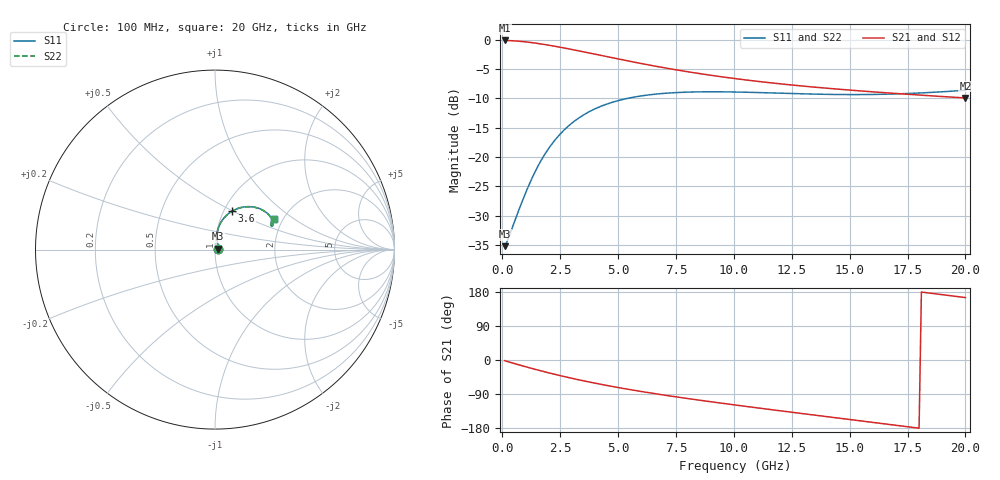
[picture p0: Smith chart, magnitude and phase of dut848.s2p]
! Touchstone file exported from HFSS 2024.1.0
!  File:  C:/UserFiles/LocalFiles/RDL_TSV_Batchsim/temp_RDL_TSV_848_1779921870.aedt
!  Generated:  07:02:00 AM May 28, 2026
!  Design:  RDL_TSV
!  Project:  temp_RDL_TSV_848_1779921870
!  Setup:  Setup1
!  Solution:  Sweep
! Variables:
!  dtsv = 8.71um
!  hbump = 3um
!  htsv = 97.14um
!  ldown = 466.9um
!  lrdl = 264.74um
!  p = 40
!  p1 = 56.59um
!  rhole = 10um
!  subl = 2459.66um
!  t = 450um
!  tdown = 4.95um
!  trdl = 3.76um
!  viad = 10um
!  wdown = 12.07um
!  wrdl = 12.73um
!  xbump = 18um
# GHz S MA R 50.000000
! Terminal data exported
! Port[1] = TM1_1_T1
! Port[2] = TM1_4_T1
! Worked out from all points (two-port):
!   200 points, 100 MHz to 20 GHz, reference 50 ohm
!   highest |S21| = -0.15 dB at 100 MHz (marker M1); lowest = -9.9 dB at 20 GHz (marker M2)
!   |S21| within 3 dB of the highest: start of sweep to 4.82 GHz
!   lowest |S11| = -35.2 dB at 100 MHz (marker M3), VSWR 1.04, Z = 51.7 + j0.463 ohm
!   |S11| at or under -10 dB: start of sweep to 5.422 GHz
!   |S22| runs from -35.2 to -8.6 dB; largest |S21 - S12| = 1.8e-14
!   S11 on the Smith chart (normalised r, x): 100 MHz: 1.03, +0.01; 3.6 GHz: 1.09, +0.49; 20 GHz: 1.80, +0.71
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0.1  0.01743 14.9  0.9828 -1.8  0.9828 -1.8  0.01743 14.9
! Gamma 0 0 0 0
! Port Impedance 50 0 50 0
0.2  0.01903 27.9  0.9817 -3.6  0.9817 -3.6  0.01903 27.9
0.6  0.03085 60.1  0.9723 -10.7  0.9723 -10.7  0.03085 60.1
1.1  0.05477 77.8  0.9513 -19.3  0.9513 -19.3  0.05474 77.7
1.4  0.07384 81.6  0.9349 -24.3  0.9349 -24.3  0.07378 81.6
1.8  0.1028 82.3  0.9097 -30.7  0.9097 -30.7  0.1027 82.2
2.2  0.1337 80.1  0.8822 -36.8  0.8822 -36.8  0.1336 80.1
2.6  0.1646 76.7  0.8533 -42.6  0.8533 -42.6  0.1644 76.6
3  0.1941 72.6  0.8238 -48.2  0.8238 -48.2  0.1938 72.5
3.5  0.2277 67.2  0.7871 -54.8  0.7871 -54.8  0.2274 67.2
3.6  0.2339 66.1  0.7798 -56.1  0.7798 -56.1  0.2336 66.1
4.3  0.2724 58.9  0.7304 -64.7  0.7304 -64.7  0.272 58.9
5.2  0.3092 50.7  0.6718 -74.8  0.6718 -74.8  0.3087 50.7
6  0.3315 44.5  0.6254 -83.1  0.6254 -83.1  0.331 44.4
6.8  0.346 39.2  0.5844 -90.8  0.5844 -90.8  0.3455 39.2
8.3  0.3583 31.6  0.5212 -104.2  0.5212 -104.2  0.3577 31.6
10.1  0.3578 25.8  0.4641 -119.1  0.4641 -119.1  0.3571 25.8
11.7  0.3511 23.1  0.4261 -131.7  0.4261 -131.7  0.3504 23.1
13.4  0.3436 22.3  0.3949 -144.8  0.3949 -144.8  0.3428 22.3
15  0.3401 23.0  0.3715 -157.0  0.3715 -157.0  0.3394 23.0
16.7  0.3432 24.6  0.3509 -170.0  0.3509 -170.0  0.3425 24.6
20  0.37 27.2  0.3184 164.7  0.3184 164.7  0.3695 27.3
